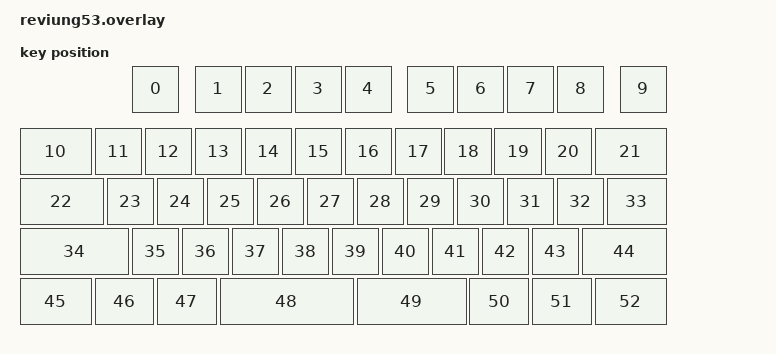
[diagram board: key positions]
/*
 * reviung53 — ZMK Studio physical layout
 *
 * Drop this in your zmk-config at:  config/reviung53.overlay
 *
 * It layers on top of the in-tree reviung53 shield (which ships kscan0 +
 * default_transform). ZMK Studio requires a physical layout with a `keys`
 * property AND that the board NOT have a chosen zmk,matrix-transform — so we
 * delete that chosen property and point zmk,physical-layout at a new layout
 * node that reuses the existing transform and kscan.
 *
 * Coordinates are in 1/100-key units, listed in the SAME order as the keymap
 * bindings. Each <&key_physical_attrs ...> group is comma-separated (required).
 *
 * SPDX-License-Identifier: MIT
 */

#include <physical_layouts.dtsi>

/ {
    chosen {
        /* Studio needs the matrix transform assigned to the layout, not chosen */
        /delete-property/ zmk,matrix-transform;
        zmk,physical-layout = &reviung53_physical_layout;
    };

    reviung53_physical_layout: reviung53_physical_layout {
        compatible = "zmk,physical-layout";
        display-name = "REVIUNG53";

        transform = <&default_transform>;   /* defined in the in-tree shield overlay */
        kscan = <&kscan0>;                   /* defined in the in-tree shield overlay */

        keys
            //                    w   h    x    y  rot rx ry
            = <&key_physical_attrs 100 100  225    0   0  0  0>
            , <&key_physical_attrs 100 100  350    0   0  0  0>
            , <&key_physical_attrs 100 100  450    0   0  0  0>
            , <&key_physical_attrs 100 100  550    0   0  0  0>
            , <&key_physical_attrs 100 100  650    0   0  0  0>
            , <&key_physical_attrs 100 100  775    0   0  0  0>
            , <&key_physical_attrs 100 100  875    0   0  0  0>
            , <&key_physical_attrs 100 100  975    0   0  0  0>
            , <&key_physical_attrs 100 100 1075    0   0  0  0>
            , <&key_physical_attrs 100 100 1200    0   0  0  0>
            , <&key_physical_attrs 150 100    0  125   0  0  0>
            , <&key_physical_attrs 100 100  150  125   0  0  0>
            , <&key_physical_attrs 100 100  250  125   0  0  0>
            , <&key_physical_attrs 100 100  350  125   0  0  0>
            , <&key_physical_attrs 100 100  450  125   0  0  0>
            , <&key_physical_attrs 100 100  550  125   0  0  0>
            , <&key_physical_attrs 100 100  650  125   0  0  0>
            , <&key_physical_attrs 100 100  750  125   0  0  0>
            , <&key_physical_attrs 100 100  850  125   0  0  0>
            , <&key_physical_attrs 100 100  950  125   0  0  0>
            , <&key_physical_attrs 100 100 1050  125   0  0  0>
            , <&key_physical_attrs 150 100 1150  125   0  0  0>
            , <&key_physical_attrs 175 100    0  225   0  0  0>
            , <&key_physical_attrs 100 100  175  225   0  0  0>
            , <&key_physical_attrs 100 100  275  225   0  0  0>
            , <&key_physical_attrs 100 100  375  225   0  0  0>
            , <&key_physical_attrs 100 100  475  225   0  0  0>
            , <&key_physical_attrs 100 100  575  225   0  0  0>
            , <&key_physical_attrs 100 100  675  225   0  0  0>
            , <&key_physical_attrs 100 100  775  225   0  0  0>
            , <&key_physical_attrs 100 100  875  225   0  0  0>
            , <&key_physical_attrs 100 100  975  225   0  0  0>
            , <&key_physical_attrs 100 100 1075  225   0  0  0>
            , <&key_physical_attrs 125 100 1175  225   0  0  0>
            , <&key_physical_attrs 225 100    0  325   0  0  0>
            , <&key_physical_attrs 100 100  225  325   0  0  0>
            , <&key_physical_attrs 100 100  325  325   0  0  0>
            , <&key_physical_attrs 100 100  425  325   0  0  0>
            , <&key_physical_attrs 100 100  525  325   0  0  0>
            , <&key_physical_attrs 100 100  625  325   0  0  0>
            , <&key_physical_attrs 100 100  725  325   0  0  0>
            , <&key_physical_attrs 100 100  825  325   0  0  0>
            , <&key_physical_attrs 100 100  925  325   0  0  0>
            , <&key_physical_attrs 100 100 1025  325   0  0  0>
            , <&key_physical_attrs 175 100 1125  325   0  0  0>
            , <&key_physical_attrs 150 100    0  425   0  0  0>
            , <&key_physical_attrs 125 100  150  425   0  0  0>
            , <&key_physical_attrs 125 100  275  425   0  0  0>
            , <&key_physical_attrs 275 100  400  425   0  0  0>
            , <&key_physical_attrs 225 100  675  425   0  0  0>
            , <&key_physical_attrs 125 100  900  425   0  0  0>
            , <&key_physical_attrs 125 100 1025  425   0  0  0>
            , <&key_physical_attrs 150 100 1150  425   0  0  0>
            ;
    };
};
